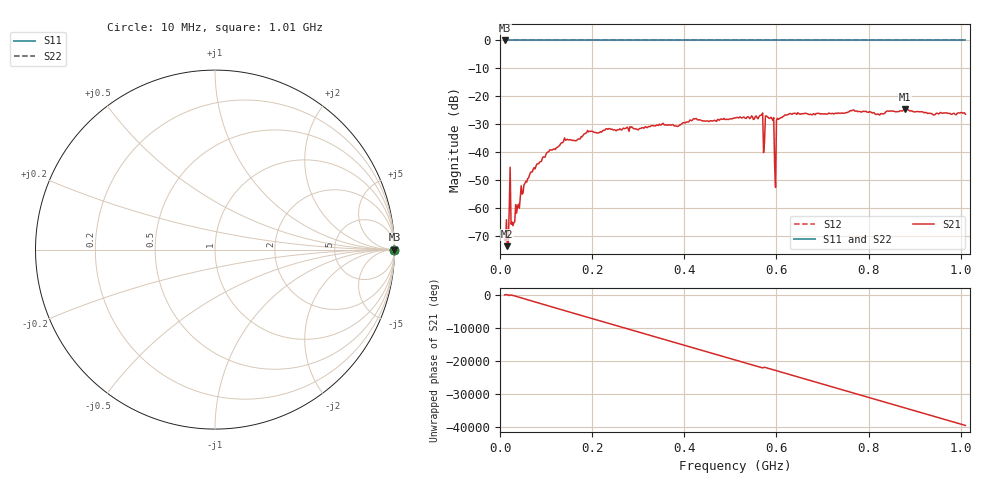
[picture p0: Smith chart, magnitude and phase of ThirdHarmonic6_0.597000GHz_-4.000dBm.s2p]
! 8/15/2025 7:26:06 PM
! C:\ANRITSUVNA\TEMP\TEMP.S2P
! CHANNEL.1
! TR.MEASUREMENT
! RAW.DATA
! RF.CORRECTION.OFF
! AVERAGING.OFF
! IF.BANDWIDTH: 5KHZ
! SWEEPTYPE:  FREQ.SWEEP(Linear)
! Reference Plane Port Info
! PORT:  PORT1  PORT2
! DISTANCE:  0  m  0  m
! TIME:  0  s  0  s
! PHASE.OFFSET:  0  deg.  0  deg.
! LOSS:  0  dB  0  dB
! REF.LOSS:  0  dB  0  dB
! REF.FREQ:  0  Hz  0  Hz
! Power Info
! POWER:  -20  dBm  -20  dBm
! EFF.POWER:  -20  dBm  -20  dBm
! SOURCE.ATTEN:  0  dB  0  dB
! TEST.ATTEN:  0  dB  0  dB
# GHZ S RI R 50.0
! FREQ.GHZ  S11RE  S11IM  S21RE  S21IM  S12RE  S12IM  S22RE  S22IM
!; PortSelection: Port_12
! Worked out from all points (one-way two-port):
!   501 points, 10 MHz to 1.01 GHz, reference 50 ohm
!   highest |S21| = -24.67 dB at 878 MHz (marker M1); lowest = -73.5 dB at 16 MHz (marker M2)
!   lowest |S11| = 0.0 dB at 10 MHz (marker M3)
!   |S11| at or under -10 dB: nowhere
!   |S22| runs from 0.0 to 0.0 dB; largest |S21 - S12| = 1.1
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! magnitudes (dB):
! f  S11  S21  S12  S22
! 10 MHz  0.0  -71.3  0.0  0.0
! 16 MHz  0.0  -73.5  0.0  0.0
! 18 MHz  0.0  -72.1  0.0  0.0
! 24 MHz  0.0  -65.7  0.0  0.0
! 28 MHz  0.0  -66.2  0.0  0.0
! 70 MHz  0.0  -47.0  0.0  0.0
! 138 MHz  0.0  -36.0  0.0  0.0
! 178 MHz  0.0  -34.4  0.0  0.0
! 344 MHz  0.0  -30.4  0.0  0.0
! 510 MHz  0.0  -27.7  0.0  0.0
! 566 MHz  0.0  -26.7  0.0  0.0
! 576 MHz  0.0  -27.0  0.0  0.0
! 580 MHz  0.0  -27.2  0.0  0.0
! 590 MHz  0.0  -27.9  0.0  0.0
! 594 MHz  0.0  -27.6  0.0  0.0
! 596 MHz  0.0  -44.4  0.0  0.0
! 600 MHz  0.0  -28.6  0.0  0.0
! 604 MHz  0.0  -28.2  0.0  0.0
! 678 MHz  0.0  -26.6  0.0  0.0
! 844 MHz  0.0  -25.3  0.0  0.0
! 878 MHz  0.0  -24.7  0.0  0.0
! 1.01 GHz  0.0  -26.4  0.0  0.0
